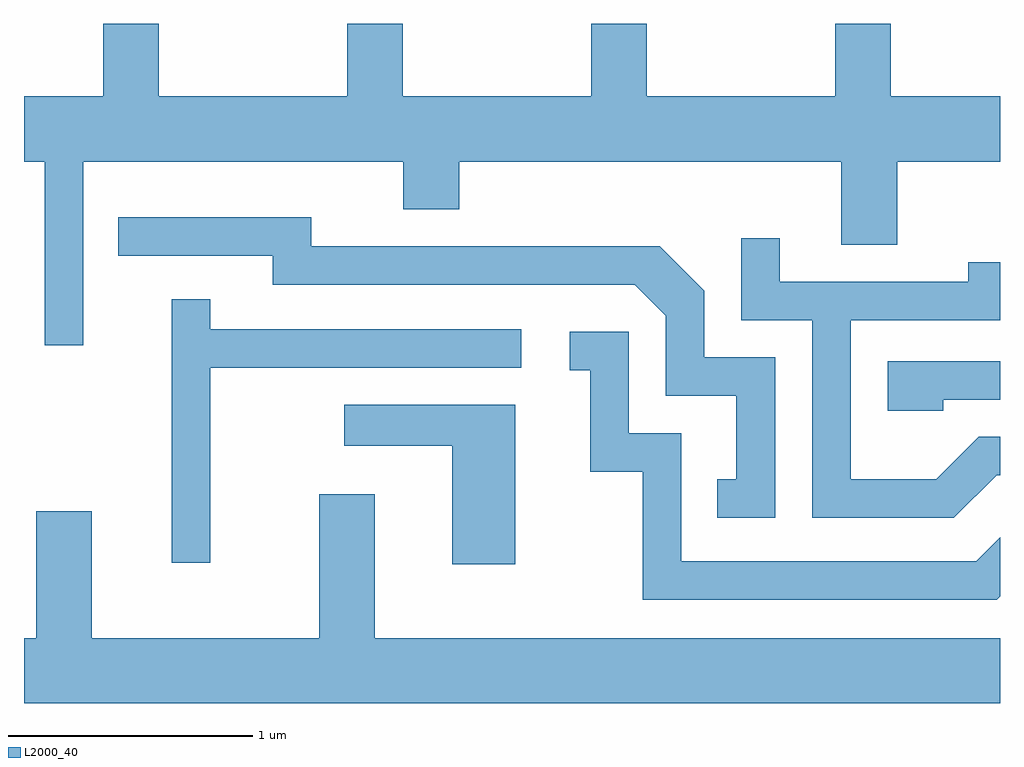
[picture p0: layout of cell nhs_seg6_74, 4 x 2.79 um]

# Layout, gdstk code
import gdstk
lib = gdstk.Library(unit=1e-6, precision=1e-09)
def P(c, l, *ps):  # polygons
    for p in ps: c.add(gdstk.Polygon(p, *l))
L2000_40 = (2000, 40)

nhs_seg6_74 = lib.new_cell('nhs_seg6_74')
P(nhs_seg6_74, L2000_40, [(187.854,1545.596),(189.166,1545.596),(189.166,1545.401),(189.394,1545.401),(189.394,1545.596),(190.961,1545.596),(190.961,1545.256),(191.189,1545.256),(191.189,1545.596),(191.611,1545.596),(191.611,1545.864),(191.164,1545.864),(191.164,1546.162),(190.936,1546.162),(190.936,1545.864),(190.164,1545.864),(190.164,1546.162),(189.936,1546.162),(189.936,1545.864),(189.164,1545.864),(189.164,1546.162),(188.936,1546.162),(188.936,1545.864),(188.164,1545.864),(188.164,1546.162),(187.936,1546.162),(187.936,1545.864),(187.611,1545.864),(187.611,1545.596),(187.696,1545.596),(187.696,1544.843),(187.854,1544.843)],
  [(190.689,1544.794),(190.399,1544.794),(190.399,1545.067),(190.217,1545.249),(188.789,1545.249),(188.789,1545.369),(187.998,1545.369),(187.998,1545.211),(188.631,1545.211),(188.631,1545.091),(190.114,1545.091),(190.241,1544.964),(190.241,1544.636),(190.531,1544.636),(190.531,1544.294),(190.453,1544.294),(190.453,1544.136),(190.689,1544.136)],
  [(191.597,1544.311),(191.611,1544.311),(191.611,1544.469),(191.524,1544.469),(191.349,1544.294),(190.999,1544.294),(190.999,1544.946),(191.611,1544.946),(191.611,1545.183),(191.481,1545.183),(191.481,1545.104),(190.709,1545.104),(190.709,1545.283),(190.551,1545.283),(190.551,1544.946),(190.841,1544.946),(190.841,1544.136),(191.422,1544.136)],
  [(188.374,1544.751),(189.648,1544.751),(189.648,1544.909),(188.374,1544.909),(188.374,1545.033),(188.216,1545.033),(188.216,1543.953),(188.374,1543.953)],
  [(191.611,1543.815),(191.611,1544.056),(191.514,1543.959),(190.304,1543.959),(190.304,1544.484),(190.089,1544.484),(190.089,1544.899),(189.848,1544.899),(189.848,1544.741),(189.931,1544.741),(189.931,1544.326),(190.146,1544.326),(190.146,1543.801),(191.597,1543.801)],
  [(191.379,1544.621),(191.611,1544.621),(191.611,1544.779),(191.151,1544.779),(191.151,1544.576),(191.379,1544.576)],
  [(189.624,1544.599),(188.923,1544.599),(188.923,1544.431),(189.366,1544.431),(189.366,1543.946),(189.624,1543.946)],
  [(191.611,1543.644),(189.049,1543.644),(189.049,1544.234),(188.821,1544.234),(188.821,1543.644),(187.889,1543.644),(187.889,1544.164),(187.661,1544.164),(187.661,1543.644),(187.611,1543.644),(187.611,1543.376),(191.611,1543.376)])

lib.write_gds('nhs_seg6_74.gds')
